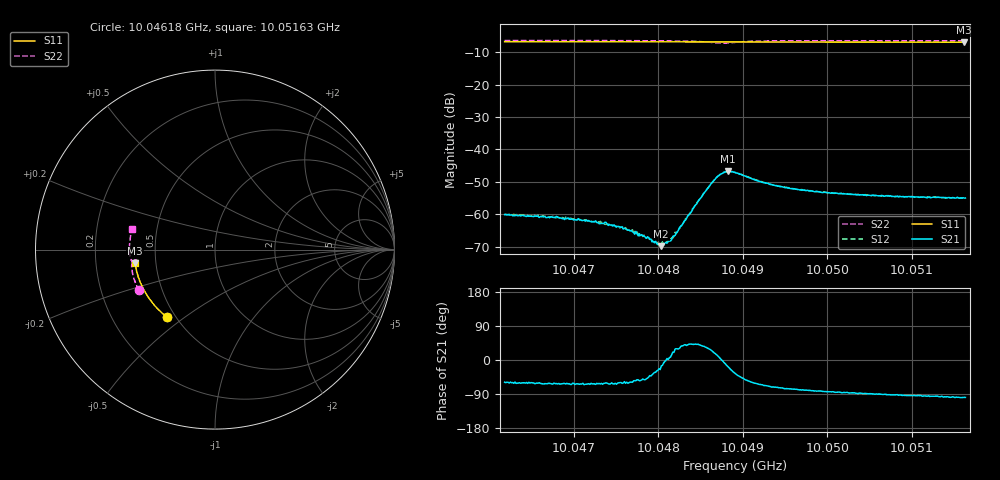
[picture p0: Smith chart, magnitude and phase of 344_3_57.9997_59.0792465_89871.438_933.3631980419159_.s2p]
#  HZ  S  RI  R  50.00
! Rohde & Schwarz Vector Network Analyzer
! Rohde-Schwarz,ZNB20-2Port,1311601062101988,3.16
! Created: UTC 3/21/2024, 1:05:45 AM
! freq[Hz]  re:S11  im:S11  re:S21  im:S21  re:S12  im:S12  re:S22  im:S22
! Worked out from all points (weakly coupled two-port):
!   401 points, 10.04618 GHz to 10.05163 GHz, reference 50 ohm
!   highest |S21| = -46.81 dB at 10.04883 GHz (marker M1); lowest = -69.9 dB at 10.04804 GHz (marker M2)
!   lowest |S11| = -6.9 dB at 10.05162 GHz (marker M3), VSWR 2.65, Z = 19 - j3.59 ohm
!   |S11| at or under -10 dB: nowhere
!   |S22| runs from -7.2 to -6.3 dB; largest |S21 - S12| = 0.00033
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1.0046184e10  -0.2685 -0.3755  0.000512 -0.00084  0.000561 -0.000814  -0.4244 -0.2271
1.0046797e10  -0.2995 -0.3494  0.000431 -0.000817  0.000483 -0.000744  -0.4413 -0.1895
1.0047096e10  -0.3138 -0.3357  0.000358 -0.000713  0.000393 -0.000703  -0.4484 -0.1703
1.0047314e10  -0.3238 -0.3254  0.000324 -0.00064  0.000399 -0.000666  -0.453 -0.1562
1.0047369e10  -0.3264 -0.3227  0.000357 -0.000657  0.000365 -0.000596  -0.4541 -0.1524
1.0047546e10  -0.3341 -0.3141  0.00032 -0.000549  0.000323 -0.000521  -0.4573 -0.1406
1.0047723e10  -0.3418 -0.3052  0.000286 -0.0004  0.000327 -0.000431  -0.4602 -0.1282
1.0047887e10  -0.3486 -0.2968  0.000308 -0.000311  0.000332 -0.000267  -0.4625 -0.1164
1.0048009e10  -0.3535 -0.2905  0.000307 -0.00013  0.00034 -0.000101  -0.4636 -0.1071
1.0048036e10  -0.3547 -0.2891  0.000309 -8.58e-05  0.000337 -9.49e-05  -0.4639 -0.1049
1.0048091e10  -0.3567 -0.2862  0.000368 -9.2e-06  0.000347 -6.43e-06  -0.4642 -0.1008
1.0048159e10  -0.3595 -0.2828  0.000393 9.52e-05  0.000408 0.000136  -0.4644 -0.0952
1.0048554e10  -0.3744 -0.2612  0.00182 0.00125  0.00174 0.00137  -0.453 -0.0606
1.0048663e10  -0.378 -0.2551  0.00317 0.00107  0.00314 0.00131  -0.4412 -0.0571
1.0048745e10  -0.3807 -0.2508  0.00419 0.000102  0.0042 0.000396  -0.4334 -0.0629
1.0048827e10  -0.3835 -0.2464  0.00435 -0.00139  0.00443 -0.00114  -0.4349 -0.0723
1.0048908e10  -0.3863 -0.2419  0.0036 -0.00253  0.00378 -0.00229  -0.4438 -0.0769
1.0049331e10  -0.3999 -0.2176  0.000973 -0.0027  0.00112 -0.00265  -0.4711 -0.0473
1.0049821e10  -0.4136 -0.1883  0.000359 -0.00225  0.000476 -0.00221  -0.4763 -0.00982
1.0050734e10  -0.4335 -0.1319  -5.51e-05 -0.0019  7.83e-05 -0.0019  -0.4738 0.0533
1.0051619e10  -0.4456 -0.0752  -0.000264 -0.00175  -0.000185 -0.00177  -0.4632 0.1113
1.0051633e10  -0.4457 -0.0744  -0.000272 -0.00175  -0.000182 -0.00177  -0.4627 0.1123
